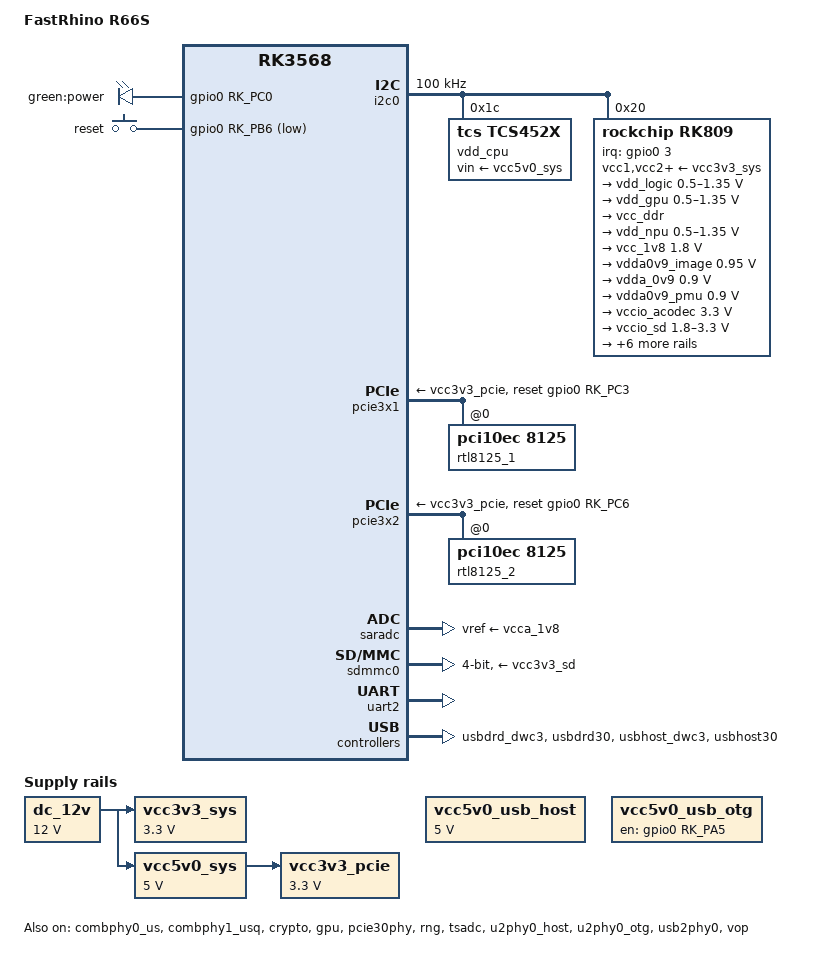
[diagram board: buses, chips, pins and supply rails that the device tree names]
// SPDX-License-Identifier: GPL-2.0-or-later OR MIT

/dts-v1/;
#include <dt-bindings/gpio/gpio.h>
#include <dt-bindings/input/input.h>
#include <dt-bindings/pinctrl/rockchip.h>
#include "rk3568.dtsi"
#include "rk3568-u-boot.dtsi"

/ {
	model = "FastRhino R66S";
	compatible = "fastrhino,r66s", "rockchip,rk3568";

	aliases {
		ethernet0 = &rtl8125_1;
		ethernet1 = &rtl8125_2;
		led-boot = &power_led;
		led-failsafe = &power_led;
		led-running = &power_led;
		led-upgrade = &power_led;
		mmc0 = &sdmmc0;
	};

	chosen: chosen {
		stdout-path = "serial2:1500000n8";
	};

	leds {
		compatible = "gpio-leds";
		pinctrl-names = "default";
		pinctrl-0 = <&power_led_pin>;

		power_led: led-power {
			label = "green:power";
			gpios = <&gpio0 RK_PC0 GPIO_ACTIVE_HIGH>;
		};
	};

	gpio-keys {
		compatible = "gpio-keys";
		pinctrl-names = "default";
		pinctrl-0 = <&reset_button_pin>;

		reset {
			debounce-interval = <50>;
			gpios = <&gpio0 RK_PB6 GPIO_ACTIVE_LOW>;
			label = "reset";
			linux,code = <KEY_RESTART>;
		};
	};

	dc_12v: dc-12v {
		u-boot,dm-pre-reloc;
		compatible = "regulator-fixed";
		regulator-name = "dc_12v";
		regulator-always-on;
		regulator-boot-on;
		regulator-min-microvolt = <12000000>;
		regulator-max-microvolt = <12000000>;
	};

	vcc3v3_pcie: vcc3v3-pcie {
		u-boot,dm-pre-reloc;
		compatible = "regulator-fixed";
		regulator-name = "vcc3v3_pcie";
		regulator-always-on;
		regulator-boot-on;
		regulator-min-microvolt = <3300000>;
		regulator-max-microvolt = <3300000>;
		vin-supply = <&vcc5v0_sys>;
	};

	vcc3v3_sys: vcc3v3-sys {
		u-boot,dm-pre-reloc;
		compatible = "regulator-fixed";
		regulator-name = "vcc3v3_sys";
		regulator-always-on;
		regulator-boot-on;
		regulator-min-microvolt = <3300000>;
		regulator-max-microvolt = <3300000>;
		vin-supply = <&dc_12v>;
	};

	vcc5v0_sys: vcc5v0-sys {
		u-boot,dm-pre-reloc;
		compatible = "regulator-fixed";
		regulator-name = "vcc5v0_sys";
		regulator-always-on;
		regulator-boot-on;
		regulator-min-microvolt = <5000000>;
		regulator-max-microvolt = <5000000>;
		vin-supply = <&dc_12v>;
	};

	vcc5v0_usb_host: vcc5v0-usb-host {
		u-boot,dm-pre-reloc;
		compatible = "regulator-fixed";
		regulator-name = "vcc5v0_usb_host";
		regulator-always-on;
		regulator-boot-on;
		regulator-min-microvolt = <5000000>;
		regulator-max-microvolt = <5000000>;
	};

	vcc5v0_usb_otg: vcc5v0-usb-otg {
		u-boot,dm-pre-reloc;
		compatible = "regulator-fixed";
		enable-active-high;
		gpio = <&gpio0 RK_PA5 GPIO_ACTIVE_HIGH>;
		pinctrl-names = "default";
		pinctrl-0 = <&vcc5v0_usb_otg_en>;
		regulator-name = "vcc5v0_usb_otg";
		regulator-always-on;
		regulator-boot-on;
	};
};

&combphy0_us {
	status = "okay";
};

&combphy1_usq {
	status = "okay";
};

&cpu0 {
	cpu-supply = <&vdd_cpu>;
};

&cpu1 {
	cpu-supply = <&vdd_cpu>;
};

&cpu2 {
	cpu-supply = <&vdd_cpu>;
};

&cpu3 {
	cpu-supply = <&vdd_cpu>;
};

&crypto {
	status = "okay";
};

&gpio0 {
	u-boot,dm-pre-reloc;
};

&gpu {
	mali-supply = <&vdd_gpu>;
	status = "okay";
};

&i2c0 {
	status = "okay";
	u-boot,dm-pre-reloc;
	clock-frequency = <100000>;

	vdd_cpu: regulator@1c {
		u-boot,dm-pre-reloc;
		compatible = "tcs,tcs452x";
		reg = <0x1c>;
		regulator-compatible = "fan53555-reg";
		regulator-name = "vdd_cpu";
		regulator-always-on;
		regulator-boot-on;
		regulator-min-microvolt = <712500>;
		regulator-max-microvolt = <1390000>;
		regulator-ramp-delay = <2300>;
		fcs,suspend-voltage-selector = <1>;
		vin-supply = <&vcc5v0_sys>;

		regulator-state-mem {
			u-boot,dm-pre-reloc;
			regulator-off-in-suspend;
		};
	};

	rk809: pmic@20 {
		u-boot,dm-pre-reloc;
		compatible = "rockchip,rk809";
		reg = <0x20>;
		interrupt-parent = <&gpio0>;
		interrupts = <3 IRQ_TYPE_LEVEL_LOW>;

		pinctrl-names = "default", "pmic-sleep",
				"pmic-power-off", "pmic-reset";
		pinctrl-0 = <&pmic_int>;
		pinctrl-1 = <&soc_slppin_slp>, <&rk817_slppin_slp>;
		pinctrl-2 = <&soc_slppin_gpio>, <&rk817_slppin_pwrdn>;
		pinctrl-3 = <&soc_slppin_gpio>, <&rk817_slppin_rst>;

		rockchip,system-power-controller;
		wakeup-source;
		#clock-cells = <1>;
		clock-output-names = "rk808-clkout1", "rk808-clkout2";
		//fb-inner-reg-idxs = <2>;
		/* 1: rst regs (default in codes), 0: rst the pmic */
		pmic-reset-func = <0>;
		/* not save the PMIC_POWER_EN register in uboot */
		not-save-power-en = <1>;

		vcc1-supply = <&vcc3v3_sys>;
		vcc2-supply = <&vcc3v3_sys>;
		vcc3-supply = <&vcc3v3_sys>;
		vcc4-supply = <&vcc3v3_sys>;
		vcc5-supply = <&vcc3v3_sys>;
		vcc6-supply = <&vcc3v3_sys>;
		vcc7-supply = <&vcc3v3_sys>;
		vcc8-supply = <&vcc3v3_sys>;
		vcc9-supply = <&vcc3v3_sys>;

		pwrkey {
			status = "okay";
			u-boot,dm-pre-reloc;
		};

		pinctrl_rk8xx: pinctrl_rk8xx {
			gpio-controller;
			#gpio-cells = <2>;
			u-boot,dm-pre-reloc;

			rk817_slppin_null: rk817_slppin_null {
				pins = "gpio_slp";
				function = "pin_fun0";
				u-boot,dm-pre-reloc;
			};

			rk817_slppin_slp: rk817_slppin_slp {
				pins = "gpio_slp";
				function = "pin_fun1";
				u-boot,dm-pre-reloc;
			};

			rk817_slppin_pwrdn: rk817_slppin_pwrdn {
				pins = "gpio_slp";
				function = "pin_fun2";
				u-boot,dm-pre-reloc;
			};

			rk817_slppin_rst: rk817_slppin_rst {
				pins = "gpio_slp";
				function = "pin_fun3";
				u-boot,dm-pre-reloc;
			};
		};

		regulators {
			u-boot,dm-pre-reloc;

			vdd_logic: DCDC_REG1 {
				u-boot,dm-pre-reloc;
				regulator-name = "vdd_logic";
				regulator-always-on;
				regulator-boot-on;
				regulator-init-microvolt = <900000>;
				regulator-initial-mode = <0x2>;
				regulator-min-microvolt = <500000>;
				regulator-max-microvolt = <1350000>;
				regulator-ramp-delay = <6001>;

				regulator-state-mem {
					u-boot,dm-pre-reloc;
					regulator-off-in-suspend;
				};
			};

			vdd_gpu: DCDC_REG2 {
				u-boot,dm-pre-reloc;
				regulator-name = "vdd_gpu";
				regulator-always-on;
				regulator-init-microvolt = <900000>;
				regulator-initial-mode = <0x2>;
				regulator-min-microvolt = <500000>;
				regulator-max-microvolt = <1350000>;
				regulator-ramp-delay = <6001>;

				regulator-state-mem {
					u-boot,dm-pre-reloc;
					regulator-off-in-suspend;
				};
			};

			vcc_ddr: DCDC_REG3 {
				u-boot,dm-pre-reloc;
				regulator-name = "vcc_ddr";
				regulator-always-on;
				regulator-boot-on;
				regulator-initial-mode = <0x2>;

				regulator-state-mem {
					u-boot,dm-pre-reloc;
					regulator-on-in-suspend;
				};
			};

			vdd_npu: DCDC_REG4 {
				u-boot,dm-pre-reloc;
				regulator-name = "vdd_npu";
				regulator-init-microvolt = <900000>;
				regulator-initial-mode = <0x2>;
				regulator-min-microvolt = <500000>;
				regulator-max-microvolt = <1350000>;
				regulator-ramp-delay = <6001>;

				regulator-state-mem {
					u-boot,dm-pre-reloc;
					regulator-off-in-suspend;
				};
			};

			vcc_1v8: DCDC_REG5 {
				u-boot,dm-pre-reloc;
				regulator-name = "vcc_1v8";
				regulator-always-on;
				regulator-boot-on;
				regulator-min-microvolt = <1800000>;
				regulator-max-microvolt = <1800000>;

				regulator-state-mem {
					u-boot,dm-pre-reloc;
					regulator-off-in-suspend;
				};
			};

			vdda0v9_image: LDO_REG1 {
				u-boot,dm-pre-reloc;
				regulator-name = "vdda0v9_image";
				regulator-always-on;
				regulator-min-microvolt = <950000>;
				regulator-max-microvolt = <950000>;

				regulator-state-mem {
					u-boot,dm-pre-reloc;
					regulator-off-in-suspend;
				};
			};

			vdda_0v9: LDO_REG2 {
				u-boot,dm-pre-reloc;
				regulator-name = "vdda_0v9";
				regulator-always-on;
				regulator-boot-on;
				regulator-min-microvolt = <900000>;
				regulator-max-microvolt = <900000>;

				regulator-state-mem {
					u-boot,dm-pre-reloc;
					regulator-off-in-suspend;
				};
			};

			vdda0v9_pmu: LDO_REG3 {
				u-boot,dm-pre-reloc;
				regulator-name = "vdda0v9_pmu";
				regulator-always-on;
				regulator-boot-on;
				regulator-min-microvolt = <900000>;
				regulator-max-microvolt = <900000>;

				regulator-state-mem {
					u-boot,dm-pre-reloc;
					regulator-on-in-suspend;
					regulator-suspend-microvolt = <900000>;
				};
			};

			vccio_acodec: LDO_REG4 {
				u-boot,dm-pre-reloc;
				regulator-name = "vccio_acodec";
				regulator-always-on;
				regulator-boot-on;
				regulator-min-microvolt = <3300000>;
				regulator-max-microvolt = <3300000>;

				regulator-state-mem {
					u-boot,dm-pre-reloc;
					regulator-off-in-suspend;
				};
			};

			vccio_sd: LDO_REG5 {
				u-boot,dm-pre-reloc;
				regulator-name = "vccio_sd";
				regulator-always-on;
				regulator-boot-on;
				regulator-min-microvolt = <1800000>;
				regulator-max-microvolt = <3300000>;

				regulator-state-mem {
					u-boot,dm-pre-reloc;
					regulator-off-in-suspend;
				};
			};

			vcc3v3_pmu: LDO_REG6 {
				u-boot,dm-pre-reloc;
				regulator-name = "vcc3v3_pmu";
				regulator-always-on;
				regulator-boot-on;
				regulator-min-microvolt = <3300000>;
				regulator-max-microvolt = <3300000>;

				regulator-state-mem {
					u-boot,dm-pre-reloc;
					regulator-on-in-suspend;
					regulator-suspend-microvolt = <3300000>;
				};
			};

			vcca_1v8: LDO_REG7 {
				u-boot,dm-pre-reloc;
				regulator-name = "vcca_1v8";
				regulator-always-on;
				regulator-boot-on;
				regulator-min-microvolt = <1800000>;
				regulator-max-microvolt = <1800000>;

				regulator-state-mem {
					u-boot,dm-pre-reloc;
					regulator-off-in-suspend;
				};
			};

			vcca1v8_pmu: LDO_REG8 {
				u-boot,dm-pre-reloc;
				regulator-name = "vcca1v8_pmu";
				regulator-always-on;
				regulator-boot-on;
				regulator-min-microvolt = <1800000>;
				regulator-max-microvolt = <1800000>;

				regulator-state-mem {
					u-boot,dm-pre-reloc;
					regulator-on-in-suspend;
					regulator-suspend-microvolt = <1800000>;
				};
			};

			vcca1v8_image: LDO_REG9 {
				u-boot,dm-pre-reloc;
				regulator-name = "vcca1v8_image";
				regulator-init-microvolt = <950000>;
				regulator-min-microvolt = <950000>;
				regulator-max-microvolt = <1800000>;

				regulator-state-mem {
					u-boot,dm-pre-reloc;
					regulator-on-in-suspend;
					regulator-suspend-microvolt = <950000>;
				};
			};

			vcc_3v3: SWITCH_REG1 {
				u-boot,dm-pre-reloc;
				regulator-name = "vcc_3v3";
				regulator-always-on;
				regulator-boot-on;

				regulator-state-mem {
					u-boot,dm-pre-reloc;
					regulator-off-in-suspend;
				};
			};

			vcc3v3_sd: SWITCH_REG2 {
				u-boot,dm-pre-reloc;
				regulator-name = "vcc3v3_sd";
				regulator-always-on;
				regulator-boot-on;

				regulator-state-mem {
					u-boot,dm-pre-reloc;
					regulator-off-in-suspend;
				};
			};
		};
	};
};

&pcie30phy {
	status = "okay";
};

&pcie3x1 {
	rockchip,bifurcation;
	rockchip,init-delay-ms = <100>;
	reset-gpios = <&gpio0 RK_PC3 GPIO_ACTIVE_HIGH>;
	vpcie3v3-supply = <&vcc3v3_pcie>;
	status = "okay";

	pcie@10 {
		reg = <0x00100000 0 0 0 0>;
		#address-cells = <3>;
		#size-cells = <2>;

		rtl8125_1: pcie-eth@10,0 {
			compatible = "pci10ec,8125";
			reg = <0x000000 0 0 0 0>;

			realtek,led-data = <0x78>;
		};
	};
};

&pcie3x2 {
	rockchip,bifurcation;
	reset-gpios = <&gpio0 RK_PC6 GPIO_ACTIVE_HIGH>;
	vpcie3v3-supply = <&vcc3v3_pcie>;
	status = "okay";

	pcie@20 {
		reg = <0x00200000 0 0 0 0>;
		#address-cells = <3>;
		#size-cells = <2>;

		rtl8125_2: pcie-eth@20,0 {
			compatible = "pci10ec,8125";
			reg = <0x000000 0 0 0 0>;

			realtek,led-data = <0x78>;
		};
	};
};

&pinctrl {
	u-boot,dm-spl;

	leds {
		power_led_pin: power-led-pin {
			rockchip,pins = <0 RK_PC0 RK_FUNC_GPIO &pcfg_pull_none>;
		};
	};

	pmic {
		u-boot,dm-pre-reloc;

		pmic_int: pmic_int {
			u-boot,dm-pre-reloc;
			rockchip,pins =
				<0 RK_PA3 RK_FUNC_GPIO &pcfg_pull_up>;
		};

		soc_slppin_gpio: soc_slppin_gpio {
			u-boot,dm-pre-reloc;
			rockchip,pins =
				<0 RK_PA2 RK_FUNC_GPIO &pcfg_output_low>;
		};

		soc_slppin_slp: soc_slppin_slp {
			u-boot,dm-pre-reloc;
			rockchip,pins =
				<0 RK_PA2 RK_FUNC_1 &pcfg_pull_up>;
		};

		soc_slppin_rst: soc_slppin_rst {
			u-boot,dm-pre-reloc;
			rockchip,pins =
				<0 RK_PA2 RK_FUNC_2 &pcfg_pull_none>;
		};
	};

	rockchip-key {
		reset_button_pin: reset-button-pin {
			rockchip,pins = <0 RK_PB6 RK_FUNC_GPIO &pcfg_pull_up>;
		};
	};

	usb {
		vcc5v0_usb_otg_en: vcc5v0_usb_otg_en {
			rockchip,pins = <0 RK_PA5 RK_FUNC_GPIO &pcfg_pull_none>;
		};
	};
};

&pmu_io_domains {
	pmuio1-supply = <&vcc3v3_pmu>;
	pmuio2-supply = <&vcc3v3_pmu>;
	vccio1-supply = <&vccio_acodec>;
	vccio3-supply = <&vccio_sd>;
	vccio4-supply = <&vcc_1v8>;
	vccio5-supply = <&vcc_3v3>;
	vccio6-supply = <&vcc_1v8>;
	vccio7-supply = <&vcc_3v3>;
	u-boot,dm-pre-reloc;
	status = "okay";
};

&rng {
	status = "okay";
};

&saradc {
	vref-supply = <&vcca_1v8>;
	status = "okay";
};

&sdmmc0 {
	max-frequency = <150000000>;
	no-sdio;
	no-mmc;
	bus-width = <4>;
	cap-mmc-highspeed;
	cap-sd-highspeed;
	disable-wp;
	vmmc-supply = <&vcc3v3_sd>;
	vqmmc-supply = <&vccio_sd>;
	pinctrl-names = "default";
	pinctrl-0 = <&sdmmc0_bus4 &sdmmc0_clk &sdmmc0_cmd &sdmmc0_det>;
	status = "okay";
};

&tsadc {
	status = "okay";
};

&uart2 {
	status = "okay";
};

&u2phy0_host {
	phy-supply = <&vcc5v0_usb_host>;
	status = "okay";
};

&u2phy0_otg {
	vbus-supply = <&vcc5v0_usb_otg>;
	status = "okay";
};

&usb2phy0 {
	status = "okay";
};

&usbdrd_dwc3 {
	extcon = <&usb2phy0>;
	status = "okay";
};

&usbdrd30 {
	status = "okay";
};

&usbhost_dwc3 {
	status = "okay";
};

&usbhost30 {
	status = "okay";
};

&vop {
	assigned-clocks = <&cru DCLK_VOP0>, <&cru DCLK_VOP1>;
	assigned-clock-parents = <&pmucru PLL_HPLL>, <&cru PLL_VPLL>;
	status = "okay";
};

&vop_mmu {
	status = "okay";
};
